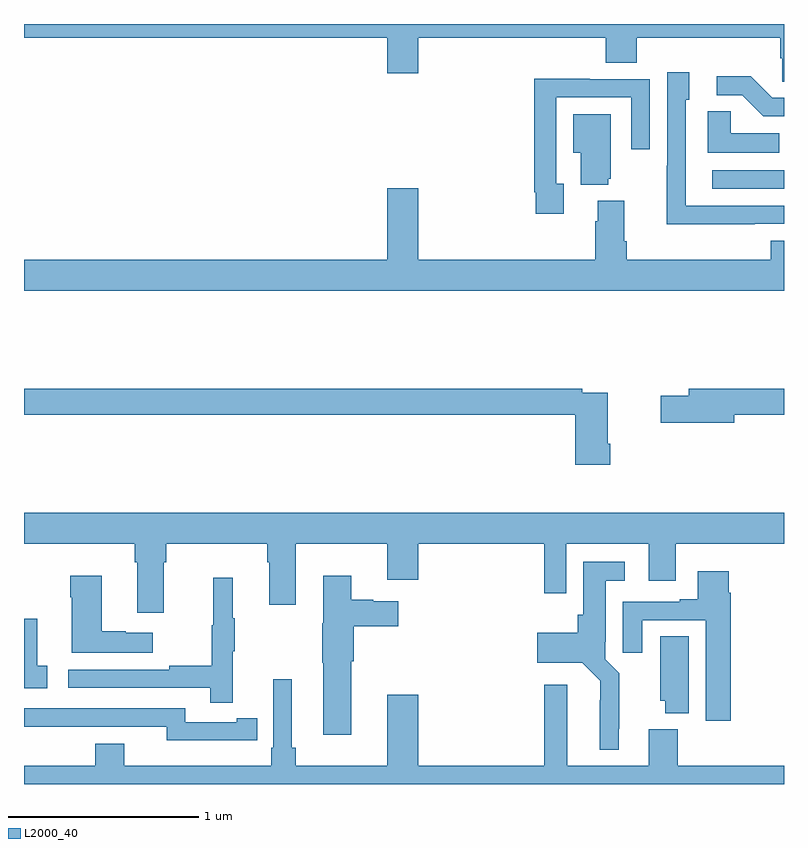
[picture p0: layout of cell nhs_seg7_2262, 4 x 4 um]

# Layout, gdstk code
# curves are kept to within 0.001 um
import gdstk
lib = gdstk.Library(unit=1e-6, precision=1e-09)
def R(c, l, rs):  # rectangles x0, y0, x1, y1
    for r in rs: c.add(gdstk.rectangle(r[:2], r[2:], *l))
def P(c, l, *ps):  # polygons
    for p in ps: c.add(gdstk.Polygon(p, *l))
L2000_40 = (2000, 40)

nhs_seg7_2262 = lib.new_cell('nhs_seg7_2262')
R(nhs_seg7_2262, L2000_40, [(262.623,1021.134,263,1021.23)])
P(nhs_seg7_2262, L2000_40, [(259,1021.928),(260.912,1021.928),(260.912,1021.74),(261.076,1021.74),(261.076,1021.928),(262.061,1021.928),(262.061,1021.795),(262.226,1021.795),(262.226,1021.928),(262.979,1021.928),(262.979,1021.819),(262.992,1021.819),(262.992,1021.696),(263,1021.696),(263,1022),(259,1022)],
  [(262.847,1020.948),(263,1020.948),(263,1021.044),(262.482,1021.044),(262.482,1021.602),(262.501,1021.602),(262.501,1021.747),(262.386,1021.747),(262.386,1021.253),(262.384,1021.253),(262.384,1020.947),(262.847,1020.947)],
  [(263,1021.611),(262.938,1021.611),(262.825,1021.724),(262.647,1021.724),(262.647,1021.626),(262.781,1021.626),(262.892,1021.515),(263,1021.515)],
  [(261.841,1021.158),(261.801,1021.158),(261.801,1021.614),(262.197,1021.614),(262.197,1021.341),(262.293,1021.341),(262.293,1021.71),(261.977,1021.71),(261.977,1021.712),(261.685,1021.712),(261.685,1021.114),(261.693,1021.114),(261.693,1021.002),(261.841,1021.002)],
  [(262.976,1021.426),(262.719,1021.426),(262.719,1021.541),(262.598,1021.541),(262.598,1021.322),(262.976,1021.322)],
  [(262.076,1021.185),(262.087,1021.185),(262.087,1021.525),(261.89,1021.525),(261.89,1021.322),(261.929,1021.322),(261.929,1021.154),(262.076,1021.154)],
  [(263,1020.859),(262.931,1020.859),(262.931,1020.76),(262.172,1020.76),(262.172,1020.856),(262.159,1020.856),(262.159,1021.069),(262.019,1021.069),(262.019,1020.962),(262.007,1020.962),(262.007,1020.76),(261.076,1020.76),(261.076,1021.135),(260.912,1021.135),(260.912,1020.76),(259,1020.76),(259,1020.596),(263,1020.596)],
  [(262.738,1019.944),(263,1019.944),(263,1020.08),(262.499,1020.08),(262.499,1020.044),(262.35,1020.044),(262.35,1019.902),(262.738,1019.902)],
  [(262.085,1019.791),(262.072,1019.791),(262.072,1020.06),(261.938,1020.06),(261.938,1020.08),(259,1020.08),(259,1019.944),(261.902,1019.944),(261.902,1019.679),(262.085,1019.679)],
  [(259.735,1019.168),(259.748,1019.168),(259.748,1019.264),(260.279,1019.264),(260.279,1019.168),(260.291,1019.168),(260.291,1018.944),(260.431,1018.944),(260.431,1019.264),(260.912,1019.264),(260.912,1019.076),(261.076,1019.076),(261.076,1019.264),(261.739,1019.264),(261.739,1019.004),(261.855,1019.004),(261.855,1019.264),(262.289,1019.264),(262.289,1019.07),(262.429,1019.07),(262.429,1019.264),(263,1019.264),(263,1019.428),(259,1019.428),(259,1019.264),(259.583,1019.264),(259.583,1019.168),(259.595,1019.168),(259.595,1018.902),(259.735,1018.902)],
  [(262.129,1018.291),(262.133,1018.291),(262.133,1018.582),(262.059,1018.656),(262.059,1018.75),(262.063,1018.75),(262.063,1019.069),(262.162,1019.069),(262.162,1019.17),(261.944,1019.17),(261.944,1018.89),(261.914,1018.89),(261.914,1018.795),(261.702,1018.795),(261.702,1018.637),(261.939,1018.637),(262.032,1018.544),(262.031,1018.181),(262.129,1018.181)],
  [(262.721,1019.006),(262.708,1019.006),(262.708,1019.119),(262.547,1019.119),(262.547,1018.972),(262.451,1018.972),(262.451,1018.959),(262.151,1018.959),(262.151,1018.692),(262.255,1018.692),(262.255,1018.863),(262.589,1018.863),(262.589,1018.332),(262.721,1018.332)],
  [(259.678,1018.795),(259.535,1018.795),(259.535,1018.805),(259.408,1018.805),(259.408,1019.095),(259.243,1019.095),(259.243,1018.982),(259.25,1018.982),(259.25,1018.691),(259.678,1018.691)],
  [(260.722,1018.645),(260.735,1018.645),(260.735,1018.829),(260.971,1018.829),(260.971,1018.963),(260.838,1018.963),(260.838,1018.971),(260.722,1018.971),(260.722,1019.095),(260.576,1019.095),(260.576,1018.845),(260.569,1018.845),(260.569,1018.639),(260.576,1018.639),(260.576,1018.26),(260.722,1018.26)],
  [(260.099,1018.699),(260.11,1018.699),(260.11,1018.873),(260.099,1018.873),(260.099,1019.086),(259.996,1019.086),(259.996,1018.836),(259.989,1018.836),(259.989,1018.622),(259.765,1018.622),(259.765,1018.602),(259.233,1018.602),(259.233,1018.506),(259.981,1018.506),(259.981,1018.428),(260.099,1018.428)],
  [(259.123,1018.623),(259.07,1018.623),(259.07,1018.87),(259,1018.87),(259,1018.503),(259.123,1018.503)],
  [(262.498,1018.778),(262.349,1018.778),(262.349,1018.437),(262.376,1018.437),(262.376,1018.373),(262.498,1018.373)],
  [(263,1018.096),(262.442,1018.096),(262.442,1018.288),(262.289,1018.288),(262.289,1018.096),(261.859,1018.096),(261.859,1018.522),(261.737,1018.522),(261.737,1018.096),(261.076,1018.096),(261.076,1018.471),(260.912,1018.471),(260.912,1018.096),(260.429,1018.096),(260.429,1018.192),(260.41,1018.192),(260.41,1018.552),(260.313,1018.552),(260.313,1018.192),(260.3,1018.192),(260.3,1018.096),(259.528,1018.096),(259.528,1018.213),(259.376,1018.213),(259.376,1018.096),(259,1018.096),(259,1018),(263,1018)],
  [(260.12,1018.23),(260.228,1018.23),(260.228,1018.346),(260.12,1018.346),(260.12,1018.326),(259.848,1018.326),(259.848,1018.398),(259,1018.398),(259,1018.301),(259.292,1018.301),(259.292,1018.302),(259.752,1018.302),(259.752,1018.229),(260.12,1018.229)])

lib.write_gds('nhs_seg7_2262.gds')
